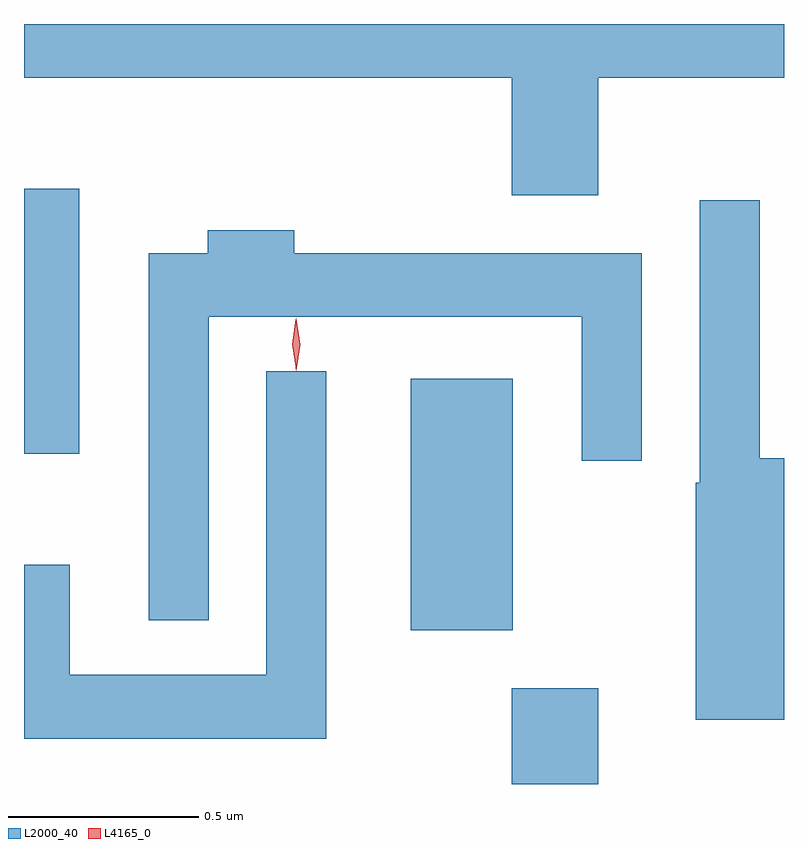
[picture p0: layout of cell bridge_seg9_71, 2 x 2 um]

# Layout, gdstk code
import gdstk
lib = gdstk.Library(unit=1e-6, precision=1e-09)
def R(c, l, rs):  # rectangles x0, y0, x1, y1
    for r in rs: c.add(gdstk.rectangle(r[:2], r[2:], *l))
def P(c, l, *ps):  # polygons
    for p in ps: c.add(gdstk.Polygon(p, *l))
L2000_40 = (2000, 40)
L4165_0 = (4165, 0)

bridge_seg9_71 = lib.new_cell('bridge_seg9_71')
R(bridge_seg9_71, L2000_40, [(1500.531,1958.877,1500.759,1959.129), (1500.266,1959.281,1500.534,1959.944), (1499.248,1959.746,1499.394,1960.444)])
P(bridge_seg9_71, L2000_40, [(1500.759,1960.736),(1501.248,1960.736),(1501.248,1960.877),(1499.248,1960.877),(1499.248,1960.736),(1500.531,1960.736),(1500.531,1960.426),(1500.759,1960.426)],
  [(1501.248,1959.734),(1501.184,1959.734),(1501.184,1960.413),(1501.026,1960.413),(1501.026,1959.67),(1501.016,1959.67),(1501.016,1959.046),(1501.248,1959.046)],
  [(1499.734,1960.106),(1500.716,1960.106),(1500.716,1959.728),(1500.874,1959.728),(1500.874,1960.274),(1499.959,1960.274),(1499.959,1960.334),(1499.731,1960.334),(1499.731,1960.274),(1499.576,1960.274),(1499.576,1959.308),(1499.734,1959.308)],
  [(1500.044,1959.963),(1499.886,1959.963),(1499.886,1959.164),(1499.369,1959.164),(1499.369,1959.454),(1499.248,1959.454),(1499.248,1958.996),(1500.044,1958.996)])
P(bridge_seg9_71, L4165_0, [(1499.964,1959.967),(1499.964,1959.967),(1499.954,1960.034),(1499.963,1960.1),(1499.964,1960.1),(1499.964,1960.1),(1499.974,1960.034),(1499.965,1959.967)],
  [(1499.964,1959.964),(1499.955,1960.033),(1499.964,1960.102),(1499.965,1960.103),(1499.965,1960.102),(1499.975,1960.033),(1499.965,1959.964),(1499.965,1959.964)])

lib.write_gds('bridge_seg9_71.gds')
